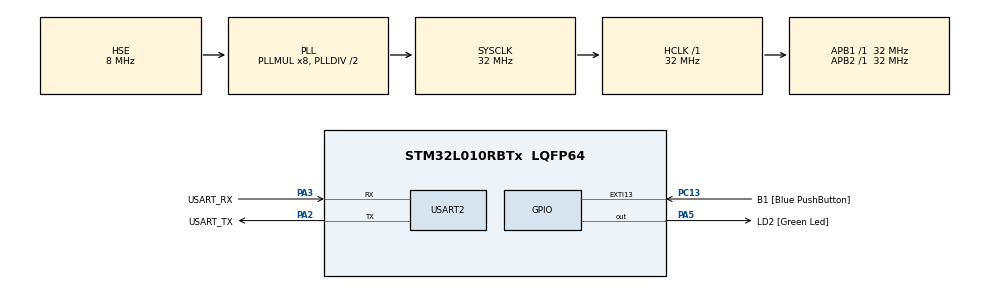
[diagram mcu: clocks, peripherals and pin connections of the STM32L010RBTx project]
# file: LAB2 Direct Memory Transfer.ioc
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Dma.MEMTOMEM.0.Direction=DMA_MEMORY_TO_MEMORY
Dma.MEMTOMEM.0.Instance=DMA1_Channel1
Dma.MEMTOMEM.0.MemDataAlignment=DMA_MDATAALIGN_BYTE
Dma.MEMTOMEM.0.MemInc=DMA_MINC_ENABLE
Dma.MEMTOMEM.0.Mode=DMA_NORMAL
Dma.MEMTOMEM.0.PeriphDataAlignment=DMA_PDATAALIGN_BYTE
Dma.MEMTOMEM.0.PeriphInc=DMA_PINC_ENABLE
Dma.MEMTOMEM.0.Priority=DMA_PRIORITY_LOW
Dma.Request0=MEMTOMEM
Mcu.Family=STM32L0
Mcu.Name=STM32L010RBTx
Mcu.Package=LQFP64
PA13.GPIO_Label=TMS
PA13.Mode=Serial_Wire
PA13.Signal=SYS_SWDIO
PA14.GPIO_Label=TCK
PA14.Mode=Serial_Wire
PA14.Signal=SYS_SWCLK
PA2.GPIO_Label=USART_TX
PA2.Mode=Asynchronous
PA2.Signal=USART2_TX
PA3.GPIO_Label=USART_RX
PA3.Mode=Asynchronous
PA3.Signal=USART2_RX
PA5.GPIO_Label=LD2 [Green Led]
PA5.Signal=GPIO_Output
PC13.GPIO_Label=B1 [Blue PushButton]
PC13.GPIO_ModeDefaultEXTI=GPIO_MODE_IT_FALLING
PC13.Signal=GPXTI13
PC14-OSC32_IN.Mode=LSE-External-Oscillator
PC14-OSC32_IN.Signal=RCC_OSC32_IN
PC15-OSC32_OUT.Mode=LSE-External-Oscillator
PC15-OSC32_OUT.Signal=RCC_OSC32_OUT
PH0-OSC_IN.GPIO_Label=MCO
PH0-OSC_IN.Mode=HSE-External-Clock-Source
PH0-OSC_IN.Signal=RCC_OSC_IN
ProjectManager.HeapSize=0x200
ProjectManager.StackSize=0x400
ProjectManager.TargetToolchain=STM32CubeIDE
RCC.AHBFreq_Value=32000000
RCC.APB1Freq_Value=32000000
RCC.APB1TimFreq_Value=32000000
RCC.APB2Freq_Value=32000000
RCC.APB2TimFreq_Value=32000000
RCC.HCLKFreq_Value=32000000
RCC.HSE_VALUE=8000000
RCC.HSI16_VALUE=16000000
RCC.HSI48_VALUE=48000000
RCC.HSI_VALUE=16000000
RCC.MSI_VALUE=2097000
RCC.PLLMUL=RCC_PLLMUL_8
RCC.PLLSourceVirtual=RCC_PLLSOURCE_HSE
RCC.SYSCLKFreq_VALUE=32000000
RCC.SYSCLKSource=RCC_SYSCLKSOURCE_PLLCLK
RCC.VCOOutputFreq_Value=64000000
USART2.VirtualMode-Asynchronous=VM_ASYNC
VP_TIM2_VS_ClockSourceINT.Mode=Internal
board=NUCLEO-L010RB

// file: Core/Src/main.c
/* USER CODE BEGIN Header */
/**
 ******************************************************************************
 * @file           : main.c
 * @brief          : Main program body
 ******************************************************************************
 * @attention
 *
 * Copyright (c) 2023 STMicroelectronics.
 * All rights reserved.
 *
 * This software is licensed under terms that can be found in the LICENSE file
 * in the root directory of this software component.
 * If no LICENSE file comes with this software, it is provided AS-IS.
 *
 ******************************************************************************
 */
/* USER CODE END Header */
#include "main.h"

/* USER CODE BEGIN Includes */

#include "string.h"

/* USER CODE END Includes */

TIM_HandleTypeDef htim2;

UART_HandleTypeDef huart2;

DMA_HandleTypeDef hdma_memtomem_dma1_channel1;
/* USER CODE BEGIN PV */

uint8_t Arr1[1000] = { 0 };
uint8_t Arr2[1000] = { 0 };
uint8_t Arr3[1000] = { 0 };
uint32_t time[2] = { 0 };

/* USER CODE END PV */

void SystemClock_Config(void);
static void MX_GPIO_Init(void);
static void MX_DMA_Init(void);
static void MX_USART2_UART_Init(void);
static void MX_TIM2_Init(void);

int main(void) {

	/* MCU Configuration--------------------------------------------------------*/

	/* Reset of all peripherals, Initializes the Flash interface and the Systick. */
	HAL_Init();

	/* Configure the system clock */
	SystemClock_Config();

	/* Initialize all configured peripherals */
	MX_GPIO_Init();
	MX_DMA_Init();
	MX_USART2_UART_Init();
	MX_TIM2_Init();
	/* USER CODE BEGIN 2 */

	// set the first array
	for (int i = 0; i < 1000; i++) {
		Arr1[i] = i;
	}

	// start timer
	HAL_TIM_Base_Start(&htim2);
	__HAL_TIM_SET_COUNTER(&htim2, 0);
	memcpy(Arr2, Arr1, 1000);
	time[0] = __HAL_TIM_GET_COUNTER(&htim2);
	__HAL_TIM_SET_COUNTER(&htim2, 0);
	HAL_DMA_Start(&hdma_memtomem_dma1_channel1, Arr1, Arr2, 1000);
	HAL_DMA_PollForTransfer(&hdma_memtomem_dma1_channel1, HAL_DMA_FULL_TRANSFER, 100);
	time[1] = __HAL_TIM_GET_COUNTER(&htim2);

	/* USER CODE END 2 */

	/* Infinite loop */
	while (1) {

	}
}

void SystemClock_Config(void) {
	RCC_OscInitTypeDef RCC_OscInitStruct = { 0 };
	RCC_ClkInitTypeDef RCC_ClkInitStruct = { 0 };
	RCC_PeriphCLKInitTypeDef PeriphClkInit = { 0 };

	/** Configure the main internal regulator output voltage
	 */
	__HAL_PWR_VOLTAGESCALING_CONFIG(PWR_REGULATOR_VOLTAGE_SCALE1);

	/** Initializes the RCC Oscillators according to the specified parameters
	 * in the RCC_OscInitTypeDef structure.
	 */
	RCC_OscInitStruct.OscillatorType = RCC_OSCILLATORTYPE_HSE;
	RCC_OscInitStruct.HSEState = RCC_HSE_BYPASS;
	RCC_OscInitStruct.PLL.PLLState = RCC_PLL_ON;
	RCC_OscInitStruct.PLL.PLLSource = RCC_PLLSOURCE_HSE;
	RCC_OscInitStruct.PLL.PLLMUL = RCC_PLLMUL_8;
	RCC_OscInitStruct.PLL.PLLDIV = RCC_PLLDIV_2;
	if (HAL_RCC_OscConfig(&RCC_OscInitStruct) != HAL_OK) {
		Error_Handler();
	}

	/** Initializes the CPU, AHB and APB buses clocks
	 */
	RCC_ClkInitStruct.ClockType = RCC_CLOCKTYPE_HCLK | RCC_CLOCKTYPE_SYSCLK | RCC_CLOCKTYPE_PCLK1 | RCC_CLOCKTYPE_PCLK2;
	RCC_ClkInitStruct.SYSCLKSource = RCC_SYSCLKSOURCE_PLLCLK;
	RCC_ClkInitStruct.AHBCLKDivider = RCC_SYSCLK_DIV1;
	RCC_ClkInitStruct.APB1CLKDivider = RCC_HCLK_DIV1;
	RCC_ClkInitStruct.APB2CLKDivider = RCC_HCLK_DIV1;

	if (HAL_RCC_ClockConfig(&RCC_ClkInitStruct, FLASH_LATENCY_1) != HAL_OK) {
		Error_Handler();
	}
	PeriphClkInit.PeriphClockSelection = RCC_PERIPHCLK_USART2;
	PeriphClkInit.Usart2ClockSelection = RCC_USART2CLKSOURCE_PCLK1;
	if (HAL_RCCEx_PeriphCLKConfig(&PeriphClkInit) != HAL_OK) {
		Error_Handler();
	}
}

static void MX_TIM2_Init(void) {

	TIM_ClockConfigTypeDef sClockSourceConfig = { 0 };
	TIM_MasterConfigTypeDef sMasterConfig = { 0 };

	htim2.Instance = TIM2;
	htim2.Init.Prescaler = 0;
	htim2.Init.CounterMode = TIM_COUNTERMODE_UP;
	htim2.Init.Period = 65535;
	htim2.Init.ClockDivision = TIM_CLOCKDIVISION_DIV1;
	htim2.Init.AutoReloadPreload = TIM_AUTORELOAD_PRELOAD_DISABLE;
	if (HAL_TIM_Base_Init(&htim2) != HAL_OK) {
		Error_Handler();
	}
	sClockSourceConfig.ClockSource = TIM_CLOCKSOURCE_INTERNAL;
	if (HAL_TIM_ConfigClockSource(&htim2, &sClockSourceConfig) != HAL_OK) {
		Error_Handler();
	}
	sMasterConfig.MasterOutputTrigger = TIM_TRGO_RESET;
	sMasterConfig.MasterSlaveMode = TIM_MASTERSLAVEMODE_DISABLE;
	if (HAL_TIMEx_MasterConfigSynchronization(&htim2, &sMasterConfig) != HAL_OK) {
		Error_Handler();
	}

}

static void MX_USART2_UART_Init(void) {

	huart2.Instance = USART2;
	huart2.Init.BaudRate = 115200;
	huart2.Init.WordLength = UART_WORDLENGTH_8B;
	huart2.Init.StopBits = UART_STOPBITS_1;
	huart2.Init.Parity = UART_PARITY_NONE;
	huart2.Init.Mode = UART_MODE_TX_RX;
	huart2.Init.HwFlowCtl = UART_HWCONTROL_NONE;
	huart2.Init.OverSampling = UART_OVERSAMPLING_16;
	huart2.Init.OneBitSampling = UART_ONE_BIT_SAMPLE_DISABLE;
	huart2.AdvancedInit.AdvFeatureInit = UART_ADVFEATURE_NO_INIT;
	if (HAL_UART_Init(&huart2) != HAL_OK) {
		Error_Handler();
	}

}

static void MX_DMA_Init(void) {

	/* DMA controller clock enable */
	__HAL_RCC_DMA1_CLK_ENABLE();

	/* Configure DMA request hdma_memtomem_dma1_channel1 on DMA1_Channel1 */
	hdma_memtomem_dma1_channel1.Instance = DMA1_Channel1;
	hdma_memtomem_dma1_channel1.Init.Request = DMA_REQUEST_0;
	hdma_memtomem_dma1_channel1.Init.Direction = DMA_MEMORY_TO_MEMORY;
	hdma_memtomem_dma1_channel1.Init.PeriphInc = DMA_PINC_ENABLE;
	hdma_memtomem_dma1_channel1.Init.MemInc = DMA_MINC_ENABLE;
	hdma_memtomem_dma1_channel1.Init.PeriphDataAlignment = DMA_PDATAALIGN_BYTE;
	hdma_memtomem_dma1_channel1.Init.MemDataAlignment = DMA_MDATAALIGN_BYTE;
	hdma_memtomem_dma1_channel1.Init.Mode = DMA_NORMAL;
	hdma_memtomem_dma1_channel1.Init.Priority = DMA_PRIORITY_LOW;
	if (HAL_DMA_Init(&hdma_memtomem_dma1_channel1) != HAL_OK) {
		Error_Handler();
	}

}

static void MX_GPIO_Init(void) {
	GPIO_InitTypeDef GPIO_InitStruct = { 0 };

	/* GPIO Ports Clock Enable */
	__HAL_RCC_GPIOC_CLK_ENABLE();
	__HAL_RCC_GPIOH_CLK_ENABLE();
	__HAL_RCC_GPIOA_CLK_ENABLE();

	/*Configure GPIO pin Output Level */
	HAL_GPIO_WritePin(LD2_GPIO_Port, LD2_Pin, GPIO_PIN_RESET);

	/*Configure GPIO pin : B1_Pin */
	GPIO_InitStruct.Pin = B1_Pin;
	GPIO_InitStruct.Mode = GPIO_MODE_IT_FALLING;
	GPIO_InitStruct.Pull = GPIO_NOPULL;
	HAL_GPIO_Init(B1_GPIO_Port, &GPIO_InitStruct);

	/*Configure GPIO pin : LD2_Pin */
	GPIO_InitStruct.Pin = LD2_Pin;
	GPIO_InitStruct.Mode = GPIO_MODE_OUTPUT_PP;
	GPIO_InitStruct.Pull = GPIO_NOPULL;
	GPIO_InitStruct.Speed = GPIO_SPEED_FREQ_LOW;
	HAL_GPIO_Init(LD2_GPIO_Port, &GPIO_InitStruct);

}

void Error_Handler(void) {
	__disable_irq();
	while (1) {
	}
}
